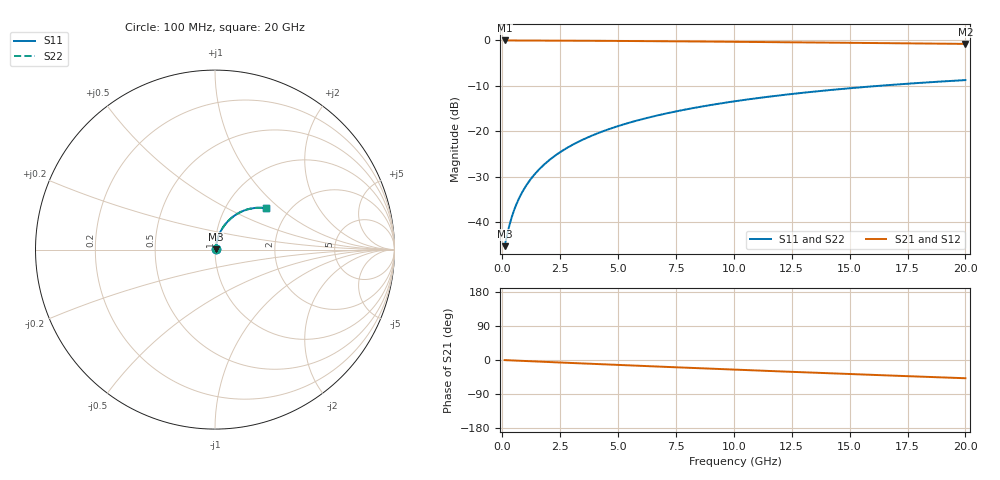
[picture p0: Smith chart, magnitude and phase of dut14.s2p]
! Touchstone file exported from HFSS 2026.1.0
!  File:  C:/ffzhzh/LocalFiles/Ansys_Project_Files/temp_train_BSMRDL_14_1782881924_13352.aedt
!  Generated:  12:59:52 PM Jul  1, 2026
!  Design:  BSMRDL
!  Project:  temp_train_BSMRDL_14_1782881924_13352
! Variables:
!  h_bsmrdl = 4.91um
!  h_ox = 20um
!  h_rdl = 5um
!  h_sub = 80um
!  h_tmrdl = 5um
!  h_tsv = 80um
!  h_via = 3um
!  l_bsmrdl = 789.45um
!  l_sub = 1189.45um
!  l_tmrdl = 200um
!  m_sub = 200um
!  pitch = 26.89um
!  r_tsv = 6um
!  s_tmrdl = 10um
!  w_bsmrdl = 11.84um
!  w_sub = 500um
!  w_tmrdl = 12um
!  x_tsv_center1 = 206um
!  x_tsv_center2 = 1007.29um
!  x_tsv_center3 = 1219.29um
!  x_tsv_center4 = 2020.58um
!  x_tsv_center5 = 2232.58um
!  x_tsv_center6 = 3033.87um
# GHz S MA R 50.000000
! Terminal data exported
! Port[1] = BSM_RDL1_1_T1
! Port[2] = BSM_RDL1_1_T2
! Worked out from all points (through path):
!   200 points, 100 MHz to 20 GHz, reference 50 ohm
!   highest |S21| = -0.04 dB at 100 MHz (marker M1); lowest = -0.8 dB at 20 GHz (marker M2)
!   group delay of S21, straight-line fit = 6.67 ps
!   lowest |S11| = -45.2 dB at 100 MHz (marker M3), VSWR 1.01, Z = 50.5 + j0.261 ohm
!   |S11| at or under -10 dB: start of sweep to 16.27 GHz
!   |S22| runs from -45.2 to -8.7 dB; largest |S21 - S12| = 3.5e-15
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0.1  0.005497 28.0  0.9952 -0.3  0.9952 -0.3  0.005497 28.0
! Gamma 0 0 0 0
! Port Impedance 50 0 50 0
0.3  0.009161 54.9  0.9948 -0.8  0.9948 -0.8  0.009161 54.9
0.4  0.01128 60.9  0.9946 -1.1  0.9946 -1.1  0.01128 60.9
0.5  0.01345 64.9  0.9945 -1.4  0.9945 -1.4  0.01345 64.9
0.6  0.01566 67.7  0.9944 -1.6  0.9944 -1.6  0.01566 67.7
0.8  0.02014 71.5  0.9941 -2.1  0.9941 -2.1  0.02014 71.5
1  0.02469 73.7  0.9939 -2.7  0.9939 -2.7  0.02469 73.7
1.2  0.02927 75.0  0.9936 -3.2  0.9936 -3.2  0.02927 75.0
1.4  0.03387 75.9  0.9933 -3.7  0.9933 -3.7  0.03387 75.9
1.7  0.04079 76.5  0.9928 -4.5  0.9928 -4.5  0.04079 76.5
2.2  0.05228 76.7  0.9919 -5.8  0.9919 -5.8  0.05228 76.7
2.8  0.06594 76.2  0.9904 -7.4  0.9904 -7.4  0.06594 76.2
3.5  0.08164 75.1  0.9885 -9.2  0.9885 -9.2  0.08164 75.1
4.2  0.09705 73.7  0.9863 -11.0  0.9863 -11.0  0.09705 73.7
5  0.1143 72.0  0.9836 -13.0  0.9836 -13.0  0.1143 72.0
5.9  0.1332 70.0  0.9802 -15.3  0.9802 -15.3  0.1332 70.0
6.8  0.1517 68.0  0.9766 -17.5  0.9766 -17.5  0.1517 68.0
8.3  0.1813 64.6  0.9702 -21.2  0.9702 -21.2  0.1813 64.6
10.1  0.2152 60.5  0.9619 -25.5  0.9619 -25.5  0.2152 60.6
13.4  0.2722 53.2  0.9458 -33.3  0.9458 -33.3  0.2722 53.2
16.7  0.3224 46.1  0.929 -40.9  0.929 -40.9  0.3224 46.1
20  0.3654 39.1  0.9125 -48.1  0.9125 -48.1  0.3654 39.1
